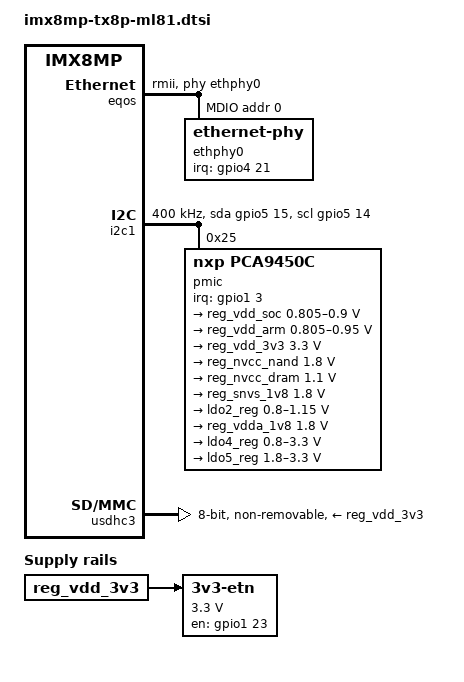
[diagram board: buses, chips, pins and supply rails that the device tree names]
// SPDX-License-Identifier: (GPL-2.0 OR MIT)
/*
 * Copyright (C) 2020 Lothar Waßmann <LW@KARO-electronics.de>
 * 2025 Maud Spierings <maudspierings@gocontroll.com>
 */

#include "imx8mp.dtsi"

/ {
	/* PHY regulator */
	regulator-3v3-etn {
		compatible = "regulator-fixed";
		pinctrl-names = "default";
		pinctrl-0 = <&pinctrl_reg_3v3_etn>;
		regulator-name = "3v3-etn";
		regulator-min-microvolt = <3300000>;
		regulator-max-microvolt = <3300000>;
		vin-supply = <&reg_vdd_3v3>;
		gpios = <&gpio1 23 GPIO_ACTIVE_HIGH>;
		enable-active-high;
		regulator-always-on;
		regulator-boot-on;
	};
};

&A53_0 {
	cpu-supply = <&reg_vdd_arm>;
};

&A53_1 {
	cpu-supply = <&reg_vdd_arm>;
};

&A53_2 {
	cpu-supply = <&reg_vdd_arm>;
};

&A53_3 {
	cpu-supply = <&reg_vdd_arm>;
};


&eqos {
	pinctrl-names = "default", "sleep";
	pinctrl-0 = <&pinctrl_eqos>;
	pinctrl-1 = <&pinctrl_eqos_sleep>;
	assigned-clocks = <&clk IMX8MP_CLK_ENET_AXI>,
			  <&clk IMX8MP_CLK_ENET_QOS_TIMER>,
			  <&clk IMX8MP_CLK_ENET_QOS>;
	assigned-clock-parents = <&clk IMX8MP_SYS_PLL1_266M>,
				 <&clk IMX8MP_SYS_PLL2_100M>,
				 <&clk IMX8MP_SYS_PLL2_50M>;
	assigned-clock-rates = <0>, <100000000>, <50000000>;
	phy-mode = "rmii";
	phy-handle = <&ethphy0>;
	status = "okay";

	mdio {
		#address-cells = <1>;
		#size-cells = <0>;
		compatible = "snps,dwmac-mdio";
		pinctrl-names = "default";
		pinctrl-0 = <&pinctrl_ethphy_rst_b>;
		reset-gpios = <&gpio4 22 GPIO_ACTIVE_LOW>;
		reset-delay-us = <25000>;

		ethphy0: ethernet-phy@0 {
			reg = <0>;
			pinctrl-names = "default";
			pinctrl-0 = <&pinctrl_ethphy_int_b>;
			interrupt-parent = <&gpio4>;
			interrupts = <21 IRQ_TYPE_EDGE_FALLING>;
			clocks = <&clk IMX8MP_CLK_ENET_QOS>;
			smsc,disable-energy-detect;
		};
	};
};

&gpio1 {
	gpio-line-names = "SODIMM_152",
		"SODIMM_42",
		"PMIC_WDOG_B SODIMM_153",
		"PMIC_IRQ_B",
		"SODIMM_154",
		"SODIMM_155",
		"SODIMM_156",
		"SODIMM_157",
		"SODIMM_158",
		"SODIMM_159",
		"SODIMM_161",
		"SODIMM_162",
		"SODIMM_34",
		"SODIMM_36",
		"SODIMM_27",
		"SODIMM_28",
		"ENET_MDC",
		"ENET_MDIO",
		"",
		"ENET_XTAL1/CLKIN",
		"ENET_TXD1",
		"ENET_TXD0",
		"ENET_TXEN",
		"ENET_POWER",
		"ENET_COL/CRS_DV",
		"ENET_RXER",
		"ENET_RXD0",
		"ENET_RXD1",
		"",
		"",
		"",
		"";
};

&gpio2 {
	gpio-line-names = "",
		"",
		"",
		"",
		"",
		"",
		"",
		"",
		"",
		"",
		"",
		"",
		"SODIMM_51",
		"SODIMM_57",
		"SODIMM_56",
		"SODIMM_52",
		"SODIMM_53",
		"SODIMM_54",
		"SODIMM_55",
		"SODIMM_15",
		"",
		"",
		"",
		"",
		"",
		"",
		"",
		"",
		"",
		"",
		"",
		"";
};

&gpio3 {
	gpio-line-names = "",
		"",
		"EMMC_DS",
		"EMMC_DAT5",
		"EMMC_DAT6",
		"EMMC_DAT7",
		"",
		"",
		"",
		"",
		"EMMC_DAT0",
		"EMMC_DAT1",
		"EMMC_DAT2",
		"EMMC_DAT3",
		"",
		"EMMC_DAT4",
		"",
		"EMMC_CLK",
		"EMMC_CMD",
		"SODIMM_75",
		"SODIMM_145",
		"SODIMM_163",
		"SODIMM_164",
		"SODIMM_165",
		"SODIMM_143",
		"SODIMM_144",
		"SODIMM_72",
		"SODIMM_73",
		"SODIMM_74",
		"SODIMM_93",
		"",
		"";
};

&gpio4 {
	gpio-line-names = "SODIMM_98",
		"SODIMM_99",
		"SODIMM_100",
		"SODIMM_101",
		"SODIMM_45",
		"SODIMM_43",
		"SODIMM_105",
		"SODIMM_106",
		"SODIMM_107",
		"SODIMM_108",
		"SODIMM_104",
		"SODIMM_103",
		"SODIMM_115",
		"SODIMM_114",
		"SODIMM_113",
		"SODIMM_112",
		"SODIMM_109",
		"SODIMM_110",
		"SODIMM_95",
		"SODIMM_96",
		"SODIMM_97",
		"ENET_nINT",
		"ENET_nRST",
		"SODIMM_84",
		"SODIMM_87",
		"SODIMM_86",
		"SODIMM_85",
		"SODIMM_83",
		"",
		"SODIMM_66",
		"SODIMM_65",
		"";
};

&gpio5 {
	gpio-line-names = "",
		"",
		"",
		"SODIMM_76",
		"SODIMM_81",
		"SODIMM_146",
		"SODIMM_48",
		"SODIMM_46",
		"SODIMM_47",
		"SODIMM_44",
		"SODIMM_49",
		"",
		"SODIMM_70",
		"SODIMM_69",
		"PMIC_SCL",
		"PMIC_SDA",
		"SODIMM_41",
		"SODIMM_40",
		"SODIMM_148",
		"SODIMM_149",
		"SODIMM_150",
		"SODIMM_151",
		"SODIMM_60",
		"SODIMM_59",
		"SODIMM_64",
		"SODIMM_63",
		"SODIMM_62",
		"SODIMM_61",
		"SODIMM_68",
		"SODIMM_67",
		"",
		"";
};

&i2c1 {
	pinctrl-names = "default", "gpio";
	pinctrl-0 = <&pinctrl_i2c1>;
	pinctrl-1 = <&pinctrl_i2c1_gpio>;
	clock-frequency = <400000>;
	scl-gpios = <&gpio5 14 (GPIO_ACTIVE_HIGH | GPIO_OPEN_DRAIN)>;
	sda-gpios = <&gpio5 15 (GPIO_ACTIVE_HIGH | GPIO_OPEN_DRAIN)>;
	status = "okay";

	pmic@25 {
		reg = <0x25>;
		compatible = "nxp,pca9450c";
		pinctrl-names = "default";
		pinctrl-0 = <&pinctrl_pmic>;
		interrupt-parent = <&gpio1>;
		interrupts = <3 IRQ_TYPE_EDGE_FALLING>;

		regulators {
			reg_vdd_soc: BUCK1 {
				regulator-name = "vdd-soc";
				regulator-min-microvolt = <805000>;
				regulator-max-microvolt = <900000>;
				regulator-boot-on;
				regulator-always-on;
				regulator-ramp-delay = <3125>;
			};

			reg_vdd_arm: BUCK2 {
				regulator-name = "vdd-core";
				regulator-min-microvolt = <805000>;
				regulator-max-microvolt = <950000>;
				regulator-boot-on;
				regulator-always-on;
				regulator-ramp-delay = <3125>;
				nxp,dvs-run-voltage = <950000>;
				nxp,dvs-standby-voltage = <850000>;
			};

			reg_vdd_3v3: BUCK4 {
				regulator-name = "3v3";
				regulator-min-microvolt = <3300000>;
				regulator-max-microvolt = <3300000>;
				regulator-boot-on;
				regulator-always-on;
			};

			reg_nvcc_nand: BUCK5 {
				regulator-name = "nvcc-nand";
				regulator-min-microvolt = <1800000>;
				regulator-max-microvolt = <1800000>;
				regulator-boot-on;
				regulator-always-on;
			};

			reg_nvcc_dram: BUCK6 {
				regulator-name = "nvcc-dram";
				regulator-min-microvolt = <1100000>;
				regulator-max-microvolt = <1100000>;
				regulator-boot-on;
				regulator-always-on;
			};

			reg_snvs_1v8: LDO1 {
				regulator-name = "snvs-1v8";
				regulator-min-microvolt = <1800000>;
				regulator-max-microvolt = <1800000>;
				regulator-boot-on;
				regulator-always-on;
			};

			ldo2_reg: LDO2 {
				regulator-name = "LDO2";
				regulator-min-microvolt = <800000>;
				regulator-max-microvolt = <1150000>;
				regulator-always-on;
			};

			reg_vdda_1v8: LDO3 {
				regulator-name = "vdda-1v8";
				regulator-min-microvolt = <1800000>;
				regulator-max-microvolt = <1800000>;
				regulator-boot-on;
				regulator-always-on;
			};

			ldo4_reg: LDO4 {
				regulator-name = "LDO4";
				regulator-min-microvolt = <800000>;
				regulator-max-microvolt = <3300000>;
			};

			ldo5_reg: LDO5 {
				regulator-name = "LDO5";
				regulator-min-microvolt = <1800000>;
				regulator-max-microvolt = <3300000>;
			};
		};
	};
};

&usdhc3 { /* eMMC */
	max-frequency = <200000000>;
	assigned-clocks = <&clk IMX8MP_CLK_USDHC3>;
	assigned-clock-rates = <200000000>;
	pinctrl-names = "default", "state_100mhz", "state_200mhz";
	pinctrl-0 = <&pinctrl_usdhc3>;
	pinctrl-1 = <&pinctrl_usdhc3_100mhz>;
	pinctrl-2 = <&pinctrl_usdhc3_200mhz>;
	bus-width = <8>;
	vmmc-supply = <&reg_vdd_3v3>;
	vqmmc-supply = <&reg_nvcc_nand>;
	voltage-ranges = <3300 3300>;
	non-removable;
	status = "okay";
};

&iomuxc {
	pinctrl_eqos: eqosgrp {
		fsl,pins = <
			MX8MP_IOMUXC_ENET_TD2__CCM_ENET_QOS_CLOCK_GENERATE_REF_CLK
			(MX8MP_DSE_X4 | MX8MP_PULL_UP | MX8MP_PULL_ENABLE | MX8MP_SION)
			MX8MP_IOMUXC_ENET_MDC__ENET_QOS_MDC
			(MX8MP_DSE_X4 | MX8MP_PULL_UP | MX8MP_PULL_ENABLE)
			MX8MP_IOMUXC_ENET_MDIO__ENET_QOS_MDIO
			(MX8MP_DSE_X4 | MX8MP_PULL_UP | MX8MP_PULL_ENABLE)
			MX8MP_IOMUXC_ENET_TD0__ENET_QOS_RGMII_TD0
			(MX8MP_DSE_X6 | MX8MP_FSEL_FAST)
			MX8MP_IOMUXC_ENET_TD1__ENET_QOS_RGMII_TD1
			(MX8MP_DSE_X6 | MX8MP_FSEL_FAST)
			MX8MP_IOMUXC_ENET_RD0__ENET_QOS_RGMII_RD0
			(MX8MP_FSEL_FAST | MX8MP_PULL_UP | MX8MP_PULL_ENABLE)
			MX8MP_IOMUXC_ENET_RD1__ENET_QOS_RGMII_RD1
			(MX8MP_FSEL_FAST | MX8MP_PULL_UP | MX8MP_PULL_ENABLE)
			MX8MP_IOMUXC_ENET_RXC__ENET_QOS_RX_ER
			(MX8MP_FSEL_FAST | MX8MP_PULL_ENABLE)
			MX8MP_IOMUXC_ENET_RX_CTL__ENET_QOS_RGMII_RX_CTL
			(MX8MP_DSE_X6 | MX8MP_FSEL_FAST | MX8MP_PULL_ENABLE)
			MX8MP_IOMUXC_ENET_TX_CTL__ENET_QOS_RGMII_TX_CTL
			(MX8MP_DSE_X6 | MX8MP_FSEL_FAST)
		>;
	};

	pinctrl_eqos_sleep: eqos-sleep-grp {
		fsl,pins = <
			MX8MP_IOMUXC_ENET_TD2__GPIO1_IO19
			(MX8MP_ODE_ENABLE | MX8MP_PULL_ENABLE)
			MX8MP_IOMUXC_ENET_MDC__GPIO1_IO16
			(MX8MP_ODE_ENABLE | MX8MP_PULL_ENABLE)
			MX8MP_IOMUXC_ENET_MDIO__GPIO1_IO17
			(MX8MP_ODE_ENABLE | MX8MP_PULL_ENABLE)
			MX8MP_IOMUXC_ENET_TD0__GPIO1_IO21
			(MX8MP_ODE_ENABLE | MX8MP_PULL_ENABLE)
			MX8MP_IOMUXC_ENET_TD1__GPIO1_IO20
			(MX8MP_ODE_ENABLE | MX8MP_PULL_ENABLE)
			MX8MP_IOMUXC_ENET_RD0__GPIO1_IO26
			(MX8MP_ODE_ENABLE | MX8MP_PULL_ENABLE)
			MX8MP_IOMUXC_ENET_RD1__GPIO1_IO27
			(MX8MP_ODE_ENABLE | MX8MP_PULL_ENABLE)
			MX8MP_IOMUXC_ENET_RXC__GPIO1_IO25
			(MX8MP_ODE_ENABLE | MX8MP_PULL_ENABLE)
			MX8MP_IOMUXC_ENET_RX_CTL__GPIO1_IO24
			(MX8MP_ODE_ENABLE | MX8MP_PULL_ENABLE)
			MX8MP_IOMUXC_ENET_TX_CTL__GPIO1_IO22
			(MX8MP_ODE_ENABLE | MX8MP_PULL_ENABLE)
		>;
	};

	pinctrl_ethphy_int_b: ethphy-int-bgrp {
		fsl,pins = <
			MX8MP_IOMUXC_SAI2_RXFS__GPIO4_IO21
			(MX8MP_FSEL_FAST | MX8MP_HYS_SCHMITT)
		>;
	};

	pinctrl_ethphy_rst_b: ethphy-rst-bgrp {
		fsl,pins = <
			MX8MP_IOMUXC_SAI2_RXC__GPIO4_IO22
			(MX8MP_PULL_UP | MX8MP_PULL_ENABLE)
		>;
	};

	pinctrl_i2c1: i2c1grp {
		fsl,pins = <
			MX8MP_IOMUXC_I2C1_SCL__I2C1_SCL
			(MX8MP_DSE_X6 | MX8MP_PULL_UP | MX8MP_HYS_SCHMITT | MX8MP_PULL_ENABLE | MX8MP_SION)
			MX8MP_IOMUXC_I2C1_SDA__I2C1_SDA
			(MX8MP_DSE_X6 | MX8MP_PULL_UP | MX8MP_HYS_SCHMITT | MX8MP_PULL_ENABLE | MX8MP_SION)
		>;
	};

	pinctrl_i2c1_gpio: i2c1-gpiogrp {
		fsl,pins = <
			MX8MP_IOMUXC_I2C1_SCL__GPIO5_IO14
			(MX8MP_DSE_X6 | MX8MP_PULL_UP | MX8MP_HYS_SCHMITT | MX8MP_PULL_ENABLE | MX8MP_SION)
			MX8MP_IOMUXC_I2C1_SDA__GPIO5_IO15
			(MX8MP_DSE_X6 | MX8MP_PULL_UP | MX8MP_HYS_SCHMITT | MX8MP_PULL_ENABLE | MX8MP_SION)
		>;
	};

	pinctrl_pmic: pmicgrp {
		fsl,pins = <
			MX8MP_IOMUXC_GPIO1_IO03__GPIO1_IO03
			(MX8MP_PULL_UP | MX8MP_HYS_SCHMITT | MX8MP_PULL_ENABLE)
		>;
	};

	pinctrl_reg_3v3_etn: reg-3v3-etngrp {
		fsl,pins = <
			MX8MP_IOMUXC_ENET_TXC__GPIO1_IO23
			(MX8MP_PULL_UP | MX8MP_PULL_ENABLE)
		>;
	};

	pinctrl_usdhc3: usdhc3grp {
		fsl,pins = <
			MX8MP_IOMUXC_NAND_WE_B__USDHC3_CLK
			(MX8MP_FSEL_FAST | MX8MP_HYS_SCHMITT | MX8MP_PULL_ENABLE)
			MX8MP_IOMUXC_NAND_WP_B__USDHC3_CMD
			(MX8MP_FSEL_FAST | MX8MP_PULL_UP | MX8MP_HYS_SCHMITT | MX8MP_PULL_ENABLE)
			MX8MP_IOMUXC_NAND_DATA04__USDHC3_DATA0
			(MX8MP_FSEL_FAST | MX8MP_PULL_UP | MX8MP_HYS_SCHMITT | MX8MP_PULL_ENABLE)
			MX8MP_IOMUXC_NAND_DATA05__USDHC3_DATA1
			(MX8MP_FSEL_FAST | MX8MP_PULL_UP | MX8MP_HYS_SCHMITT | MX8MP_PULL_ENABLE)
			MX8MP_IOMUXC_NAND_DATA06__USDHC3_DATA2
			(MX8MP_FSEL_FAST | MX8MP_PULL_UP | MX8MP_HYS_SCHMITT | MX8MP_PULL_ENABLE)
			MX8MP_IOMUXC_NAND_DATA07__USDHC3_DATA3
			(MX8MP_FSEL_FAST | MX8MP_PULL_UP | MX8MP_HYS_SCHMITT | MX8MP_PULL_ENABLE)
			MX8MP_IOMUXC_NAND_RE_B__USDHC3_DATA4
			(MX8MP_FSEL_FAST | MX8MP_PULL_UP | MX8MP_HYS_SCHMITT | MX8MP_PULL_ENABLE)
			MX8MP_IOMUXC_NAND_CE2_B__USDHC3_DATA5
			(MX8MP_FSEL_FAST | MX8MP_PULL_UP | MX8MP_HYS_SCHMITT | MX8MP_PULL_ENABLE)
			MX8MP_IOMUXC_NAND_CE3_B__USDHC3_DATA6
			(MX8MP_FSEL_FAST | MX8MP_PULL_UP | MX8MP_HYS_SCHMITT | MX8MP_PULL_ENABLE)
			MX8MP_IOMUXC_NAND_CLE__USDHC3_DATA7
			(MX8MP_FSEL_FAST | MX8MP_PULL_UP | MX8MP_HYS_SCHMITT | MX8MP_PULL_ENABLE)
			MX8MP_IOMUXC_NAND_CE1_B__USDHC3_STROBE
			(MX8MP_FSEL_FAST | MX8MP_HYS_SCHMITT | MX8MP_PULL_ENABLE)
		>;
	};

	pinctrl_usdhc3_100mhz: usdhc3-100mhzgrp {
		fsl,pins = <
			MX8MP_IOMUXC_NAND_WE_B__USDHC3_CLK
			(MX8MP_DSE_X2 | MX8MP_FSEL_FAST | MX8MP_HYS_SCHMITT | MX8MP_PULL_ENABLE)
			MX8MP_IOMUXC_NAND_WP_B__USDHC3_CMD
			(MX8MP_DSE_X2 | MX8MP_FSEL_FAST | MX8MP_PULL_UP | MX8MP_HYS_SCHMITT | MX8MP_PULL_ENABLE)
			MX8MP_IOMUXC_NAND_DATA04__USDHC3_DATA0
			(MX8MP_DSE_X2 | MX8MP_FSEL_FAST | MX8MP_PULL_UP | MX8MP_HYS_SCHMITT | MX8MP_PULL_ENABLE)
			MX8MP_IOMUXC_NAND_DATA05__USDHC3_DATA1
			(MX8MP_DSE_X2 | MX8MP_FSEL_FAST | MX8MP_PULL_UP | MX8MP_HYS_SCHMITT | MX8MP_PULL_ENABLE)
			MX8MP_IOMUXC_NAND_DATA06__USDHC3_DATA2
			(MX8MP_DSE_X2 | MX8MP_FSEL_FAST | MX8MP_PULL_UP | MX8MP_HYS_SCHMITT | MX8MP_PULL_ENABLE)
			MX8MP_IOMUXC_NAND_DATA07__USDHC3_DATA3
			(MX8MP_DSE_X2 | MX8MP_FSEL_FAST | MX8MP_PULL_UP | MX8MP_HYS_SCHMITT | MX8MP_PULL_ENABLE)
			MX8MP_IOMUXC_NAND_RE_B__USDHC3_DATA4
			(MX8MP_DSE_X2 | MX8MP_FSEL_FAST | MX8MP_PULL_UP | MX8MP_HYS_SCHMITT | MX8MP_PULL_ENABLE)
			MX8MP_IOMUXC_NAND_CE2_B__USDHC3_DATA5
			(MX8MP_DSE_X2 | MX8MP_FSEL_FAST | MX8MP_PULL_UP | MX8MP_HYS_SCHMITT | MX8MP_PULL_ENABLE)
			MX8MP_IOMUXC_NAND_CE3_B__USDHC3_DATA6
			(MX8MP_DSE_X2 | MX8MP_FSEL_FAST | MX8MP_PULL_UP | MX8MP_HYS_SCHMITT | MX8MP_PULL_ENABLE)
			MX8MP_IOMUXC_NAND_CLE__USDHC3_DATA7
			(MX8MP_DSE_X2 | MX8MP_FSEL_FAST | MX8MP_PULL_UP | MX8MP_HYS_SCHMITT | MX8MP_PULL_ENABLE)
			MX8MP_IOMUXC_NAND_CE1_B__USDHC3_STROBE
			(MX8MP_DSE_X2 | MX8MP_FSEL_FAST | MX8MP_HYS_SCHMITT | MX8MP_PULL_ENABLE)
		>;
	};

	pinctrl_usdhc3_200mhz: usdhc3-200mhzgrp {
		fsl,pins = <
			MX8MP_IOMUXC_NAND_WE_B__USDHC3_CLK
			(MX8MP_DSE_X6 | MX8MP_FSEL_FAST | MX8MP_HYS_SCHMITT | MX8MP_PULL_ENABLE)
			MX8MP_IOMUXC_NAND_WP_B__USDHC3_CMD
			(MX8MP_DSE_X6 | MX8MP_FSEL_FAST | MX8MP_PULL_UP | MX8MP_HYS_SCHMITT | MX8MP_PULL_ENABLE)
			MX8MP_IOMUXC_NAND_DATA04__USDHC3_DATA0
			(MX8MP_DSE_X6 | MX8MP_FSEL_FAST | MX8MP_PULL_UP | MX8MP_HYS_SCHMITT | MX8MP_PULL_ENABLE)
			MX8MP_IOMUXC_NAND_DATA05__USDHC3_DATA1
			(MX8MP_DSE_X6 | MX8MP_FSEL_FAST | MX8MP_PULL_UP | MX8MP_HYS_SCHMITT | MX8MP_PULL_ENABLE)
			MX8MP_IOMUXC_NAND_DATA06__USDHC3_DATA2
			(MX8MP_DSE_X6 | MX8MP_FSEL_FAST | MX8MP_PULL_UP | MX8MP_HYS_SCHMITT | MX8MP_PULL_ENABLE)
			MX8MP_IOMUXC_NAND_DATA07__USDHC3_DATA3
			(MX8MP_DSE_X6 | MX8MP_FSEL_FAST | MX8MP_PULL_UP | MX8MP_HYS_SCHMITT | MX8MP_PULL_ENABLE)
			MX8MP_IOMUXC_NAND_RE_B__USDHC3_DATA4
			(MX8MP_DSE_X6 | MX8MP_FSEL_FAST | MX8MP_PULL_UP | MX8MP_HYS_SCHMITT | MX8MP_PULL_ENABLE)
			MX8MP_IOMUXC_NAND_CE2_B__USDHC3_DATA5
			(MX8MP_DSE_X6 | MX8MP_FSEL_FAST | MX8MP_PULL_UP | MX8MP_HYS_SCHMITT | MX8MP_PULL_ENABLE)
			MX8MP_IOMUXC_NAND_CE3_B__USDHC3_DATA6
			(MX8MP_DSE_X6 | MX8MP_FSEL_FAST | MX8MP_PULL_UP | MX8MP_HYS_SCHMITT | MX8MP_PULL_ENABLE)
			MX8MP_IOMUXC_NAND_CLE__USDHC3_DATA7
			(MX8MP_DSE_X6 | MX8MP_FSEL_FAST | MX8MP_PULL_UP | MX8MP_HYS_SCHMITT | MX8MP_PULL_ENABLE)
			MX8MP_IOMUXC_NAND_CE1_B__USDHC3_STROBE
			(MX8MP_DSE_X6 | MX8MP_FSEL_FAST | MX8MP_HYS_SCHMITT | MX8MP_PULL_ENABLE)
		>;
	};
};
